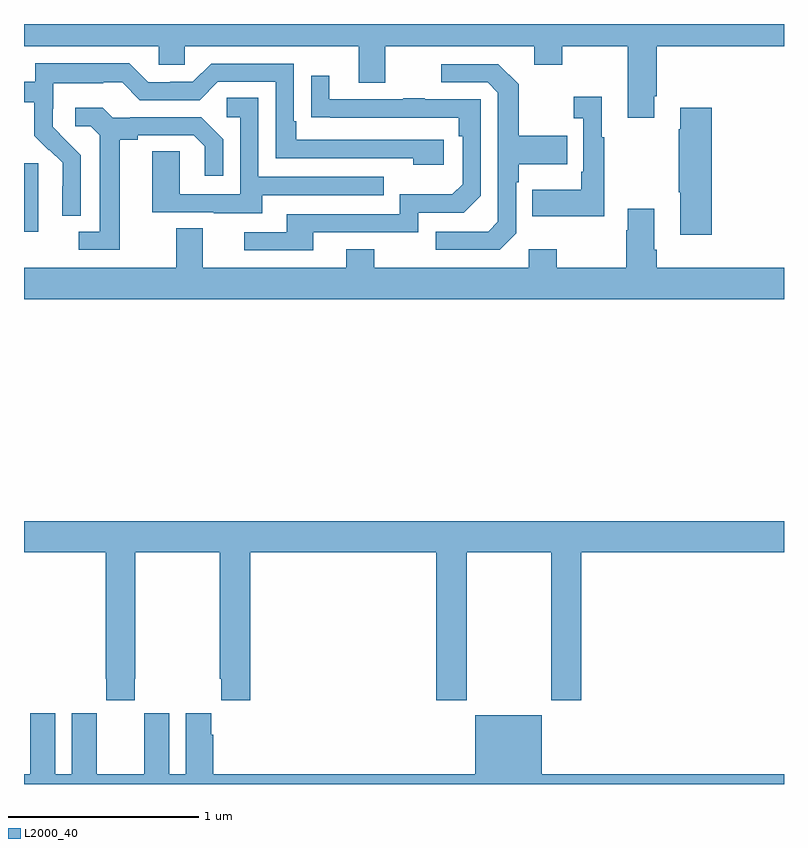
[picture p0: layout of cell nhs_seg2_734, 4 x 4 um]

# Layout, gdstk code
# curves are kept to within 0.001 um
import gdstk
lib = gdstk.Library(unit=1e-6, precision=1e-09)
def R(c, l, rs):  # rectangles x0, y0, x1, y1
    for r in rs: c.add(gdstk.rectangle(r[:2], r[2:], *l))
def P(c, l, *ps):  # polygons
    for p in ps: c.add(gdstk.Polygon(p, *l))
L2000_40 = (2000, 40)

nhs_seg2_734 = lib.new_cell('nhs_seg2_734')
R(nhs_seg2_734, L2000_40, [(149,598.706,149.074,599.067)])
P(nhs_seg2_734, L2000_40, [(149,599.684),(149.709,599.684),(149.709,599.586),(149.847,599.586),(149.847,599.684),(150.761,599.684),(150.761,599.49),(150.901,599.49),(150.901,599.684),(151.685,599.684),(151.685,599.585),(151.833,599.585),(151.833,599.684),(152.177,599.684),(152.177,599.307),(152.317,599.307),(152.317,599.419),(152.33,599.419),(152.33,599.684),(153,599.684),(153,599.8),(149,599.8)],
  [(149.298,599.11),(149.152,599.258),(149.152,599.355),(149.154,599.355),(149.154,599.489),(149.417,599.489),(149.417,599.493),(149.517,599.493),(149.61,599.4),(149.925,599.4),(150.021,599.496),(150.324,599.496),(150.324,599.094),(151.049,599.094),(151.049,599.06),(151.21,599.06),(151.21,599.19),(150.433,599.19),(150.433,599.287),(150.42,599.287),(150.42,599.592),(149.985,599.592),(149.889,599.496),(149.771,599.496),(149.771,599.493),(149.655,599.493),(149.555,599.593),(149.058,599.593),(149.058,599.496),(149,599.496),(149,599.388),(149.053,599.388),(149.053,599.213),(149.13,599.136),(149.133,599.139),(149.204,599.069),(149.204,598.946),(149.202,598.946),(149.202,598.792),(149.298,598.792)],
  [(151.59,598.698),(151.59,598.967),(151.603,598.967),(151.603,599.063),(151.859,599.063),(151.859,599.211),(151.603,599.211),(151.603,599.483),(151.497,599.589),(151.197,599.589),(151.197,599.493),(151.44,599.493),(151.494,599.439),(151.494,598.758),(151.443,598.707),(151.167,598.707),(151.167,598.611),(151.503,598.611)],
  [(150.523,598.704),(151.074,598.704),(151.074,598.806),(151.314,598.806),(151.404,598.896),(151.404,599.403),(151.109,599.403),(151.109,599.408),(150.997,599.408),(150.997,599.403),(150.607,599.403),(150.607,599.527),(150.511,599.527),(150.511,599.308),(151.288,599.307),(151.288,599.21),(151.308,599.21),(151.308,598.956),(151.255,598.903),(150.978,598.903),(150.978,598.8),(150.383,598.8),(150.383,598.704),(150.159,598.704),(150.159,598.608),(150.523,598.608)],
  [(152.053,599.203),(152.041,599.203),(152.041,599.416),(151.893,599.416),(151.893,599.303),(151.944,599.303),(151.944,599.023),(151.932,599.023),(151.932,598.927),(151.675,598.927),(151.675,598.787),(152.053,598.787)],
  [(150.253,598.899),(150.893,598.899),(150.893,598.995),(150.234,598.995),(150.234,599.411),(150.066,599.411),(150.066,599.31),(150.138,599.31),(150.138,598.905),(149.82,598.905),(149.82,599.129),(149.675,599.129),(149.675,598.809),(149.999,598.809),(149.999,598.805),(150.253,598.805)],
  [(152.621,599.359),(152.453,599.359),(152.453,599.246),(152.446,599.246),(152.446,598.915),(152.453,598.915),(152.453,598.692),(152.621,598.692)],
  [(149.503,599.192),(149.599,599.192),(149.599,599.214),(149.894,599.214),(149.951,599.157),(149.951,599.001),(150.048,599.001),(150.048,599.194),(149.932,599.31),(149.56,599.31),(149.56,599.307),(149.466,599.307),(149.414,599.359),(149.271,599.359),(149.271,599.262),(149.352,599.262),(149.399,599.215),(149.399,598.707),(149.289,598.707),(149.289,598.611),(149.503,598.611)],
  [(153,598.516),(152.33,598.516),(152.33,598.612),(152.317,598.612),(152.317,598.828),(152.177,598.828),(152.177,598.715),(152.17,598.715),(152.17,598.516),(151.803,598.516),(151.803,598.615),(151.656,598.615),(151.656,598.516),(150.843,598.516),(150.843,598.615),(150.695,598.615),(150.695,598.516),(149.941,598.516),(149.941,598.724),(149.801,598.724),(149.801,598.516),(149,598.516),(149,598.352),(153,598.352)],
  [(149.583,596.353),(149.586,596.353),(149.586,597.02),(150.031,597.02),(150.031,596.353),(150.037,596.353),(150.037,596.241),(150.191,596.241),(150.191,597.02),(151.169,597.02),(151.169,596.241),(151.329,596.241),(151.329,597.02),(151.774,597.02),(151.774,596.241),(151.934,596.241),(151.934,597.02),(153,597.02),(153,597.184),(149,597.184),(149,597.02),(149.431,597.02),(149.431,596.353),(149.433,596.353),(149.433,596.241),(149.583,596.241)],
  [(153,595.852),(151.726,595.852),(151.726,596.161),(151.376,596.161),(151.376,595.852),(149.996,595.852),(149.996,596.06),(149.986,596.06),(149.986,596.173),(149.852,596.173),(149.852,595.852),(149.764,595.852),(149.764,596.173),(149.634,596.173),(149.634,596.06),(149.633,596.06),(149.633,595.852),(149.383,595.852),(149.383,596.06),(149.382,596.06),(149.382,596.173),(149.252,596.173),(149.252,595.852),(149.164,595.852),(149.164,596.173),(149.034,596.173),(149.034,596.06),(149.033,596.06),(149.033,595.852),(149,595.852),(149,595.8),(153,595.8)])

lib.write_gds('nhs_seg2_734.gds')
